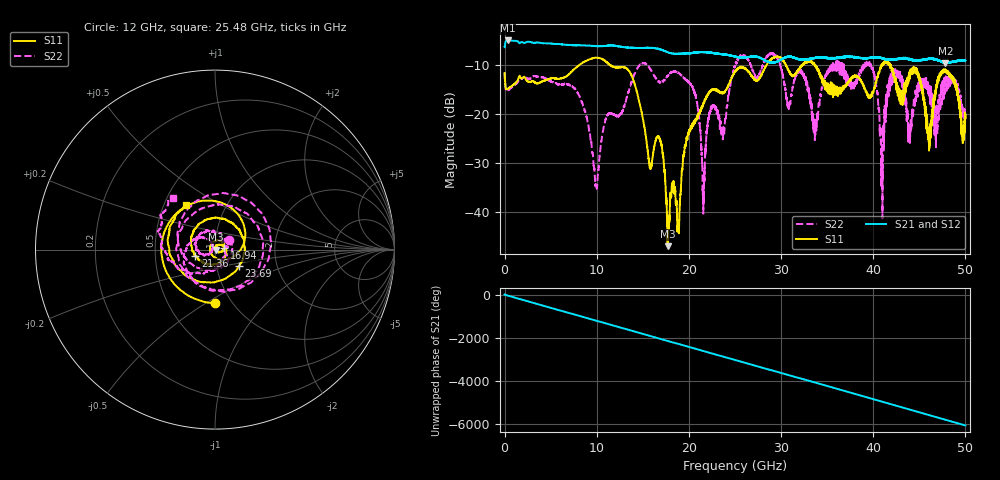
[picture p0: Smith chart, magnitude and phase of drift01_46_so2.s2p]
!Created with skrf (http://scikit-rf.org).
# Hz S RI R 50.0
!freq ReS11 ImS11 ReS21 ImS21 ReS12 ImS12 ReS22 ImS22
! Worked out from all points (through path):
!   10001 points, 300 kHz to 50 GHz, reference 50 ohm
!   highest |S21| = -5.05 dB at 325.3 MHz (marker M1); lowest = -9.7 dB at 47.84 GHz (marker M2)
!   group delay of S21, straight-line fit = 336 ps
!   lowest |S11| = -47.0 dB at 17.69 GHz (marker M3), VSWR 1.01, Z = 50.4 - j0.0839 ohm
!   |S11| at or under -10 dB: start of sweep to 8.154 GHz; 11.41 GHz to 28.44 GHz (17.03 GHz wide, 85.5 % of centre); 41.8 GHz to end of sweep (the widest 3 of 14)
!   |S22| runs from -41.4 to -7.6 dB; largest |S21 - S12| = 0.014
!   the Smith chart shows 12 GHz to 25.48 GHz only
!   S11 on the Smith chart (normalised r, x): 12 GHz: 0.84, -0.55; 16.94 GHz: 1.11, +0.02; 21.36 GHz: 0.80, -0.06; 23.69 GHz: 1.29, -0.24; 25.48 GHz: 0.65, +0.35
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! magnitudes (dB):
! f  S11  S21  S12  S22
! 300 kHz  -11.7  -6.4  -6.5  -11.7
! 325.3 MHz  -15.0  -5.1  -5.1  -15.4
! 8.335 GHz  -9.8  -6.0  -6.0  -17.5
! 9.935 GHz  -8.6  -6.2  -6.2  -34.5
! 12 GHz  -10.5  -6.1  -6.1  -20.5
! 15.8 GHz  -31.1  -6.6  -6.6  -10.8
! 16.67 GHz  -24.6  -6.8  -6.8  -13.4
! 16.94 GHz  -25.7  -6.9  -6.9  -13.4
! 17.69 GHz  -47.0  -7.4  -7.4  -12.3
! 20.45 GHz  -22.4  -7.6  -7.6  -14.9
! 21.36 GHz  -18.8  -7.4  -7.4  -27.1
! 23.69 GHz  -15.8  -7.9  -7.9  -25.1
! 25 GHz  -11.4  -8.3  -8.4  -10.4
! 25.48 GHz  -10.5  -8.5  -8.5  -8.6
! 33.34 GHz  -9.5  -8.8  -8.7  -19.7
! 39.49 GHz  -16.6  -8.6  -8.6  -10.0
! 40.94 GHz  -10.0  -8.6  -8.7  -27.4
! 41.67 GHz  -9.9  -8.9  -9.0  -15.5
! 44.76 GHz  -11.3  -9.1  -9.0  -14.4
! 46.1 GHz  -27.1  -8.8  -8.8  -14.8
! 47.84 GHz  -11.2  -9.7  -9.7  -14.3
! 50 GHz  -20.9  -9.1  -9.2  -20.2
